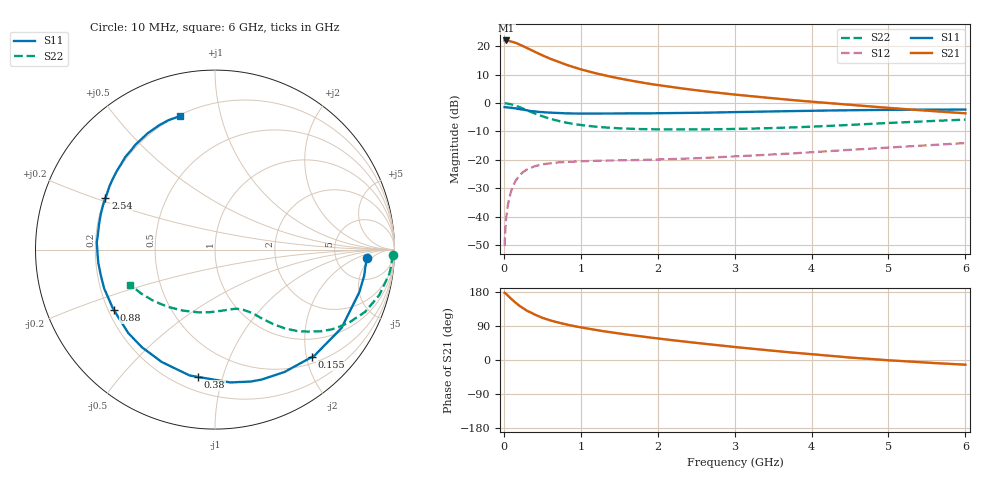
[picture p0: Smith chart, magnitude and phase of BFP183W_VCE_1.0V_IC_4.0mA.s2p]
! Infineon Technologies  Discrete & RF Semiconductors
! BFP183W
! VCE = 1.0 V,  IC =  4.0 mA
! Common Emitter S-Parameters:  Jan 2016
# GHz  S  MA  R  50
!  f  S11  S21  S12  S22
! GHz  MAG  ANG  MAG  ANG  MAG  ANG  MAG  ANG
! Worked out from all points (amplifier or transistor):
!   210 points, 10 MHz to 6 GHz, reference 50 ohm
!   highest |S21| = 22.1 dB at 30 MHz (marker M1)
!   |S21| within 3 dB of that: start of sweep to 325.8 MHz
!   unconditionally stable (mu >= 1): 1.824 GHz to end of sweep
!   at 185 MHz: K = 0.13, MSG = 23.5 dB, |S12| = -26.2 dB
!   at 1.52 GHz: K = 0.87, MSG = 14.4 dB, |S12| = -20.2 dB
!   at 6 GHz: K = 1.08, MAG = 3.5 dB, |S12| = -14.1 dB
!   S11 on the Smith chart (normalised r, x): 10 MHz: 11, -4; 155 MHz: 0.61, -2.09; 380 MHz: 0.29, -0.83; 880 MHz: 0.22, -0.26; 2.54 GHz: 0.20, +0.21; 6 GHz: 0.21, +0.75
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0.01  0.8472 -3.3  12.62 177.4  0.003 90.6  0.9914 -1.6
0.03  0.8438 -9.9  12.69 174.3  0.0093 86.7  0.9871 -4.8
0.05  0.8384 -16.4  12.59 170.1  0.0151 81.3  0.9801 -8.0
0.1  0.8293 -31.8  12.17 160.6  0.0293 73.0  0.95 -15.4
0.155  0.8054 -48.1  11.52 150.7  0.0429 64.6  0.9 -23.0
0.2  0.7842 -60.4  10.86 143.4  0.0522 59.1  0.8524 -28.3
0.26  0.7622 -74.6  9.956 135.4  0.062 52.1  0.7883 -34.3
0.3  0.7451 -83.4  9.351 130.0  0.0674 48.3  0.7457 -37.6
0.38  0.7154 -97.7  8.27 122.0  0.0748 42.1  0.6724 -42.7
0.4  0.7153 -101.4  8.029 119.7  0.0768 40.7  0.655 -44.2
0.5  0.693 -115.3  6.94 111.3  0.0831 35.5  0.5836 -48.6
0.6  0.6796 -126.8  6.061 104.7  0.0868 31.4  0.5283 -51.9
0.7  0.6706 -136.1  5.383 99.2  0.0897 28.7  0.4869 -54.3
0.88  0.6556 -149.1  4.419 90.8  0.0928 25.2  0.4335 -57.7
1.02  0.6524 -156.7  3.866 85.4  0.0943 23.6  0.4066 -60.1
1.44  0.6542 -174.8  2.822 71.8  0.0973 21.7  0.3632 -66.5
2.02  0.6615 167.3  2.058 56.4  0.1015 23.2  0.3434 -75.8
2.54  0.674 154.9  1.657 44.3  0.1069 25.5  0.3434 -85.7
3.1  0.6968 143.0  1.37 32.4  0.1164 27.9  0.3515 -97.2
4.1  0.7355 125.8  1.031 13.6  0.1387 30.4  0.3884 -120.1
5.1  0.7606 113.3  0.803 -1.9  0.1673 29.8  0.4512 -141.9
6  0.7684 104.9  0.66 -12.4  0.1971 27.6  0.5104 -157.5
